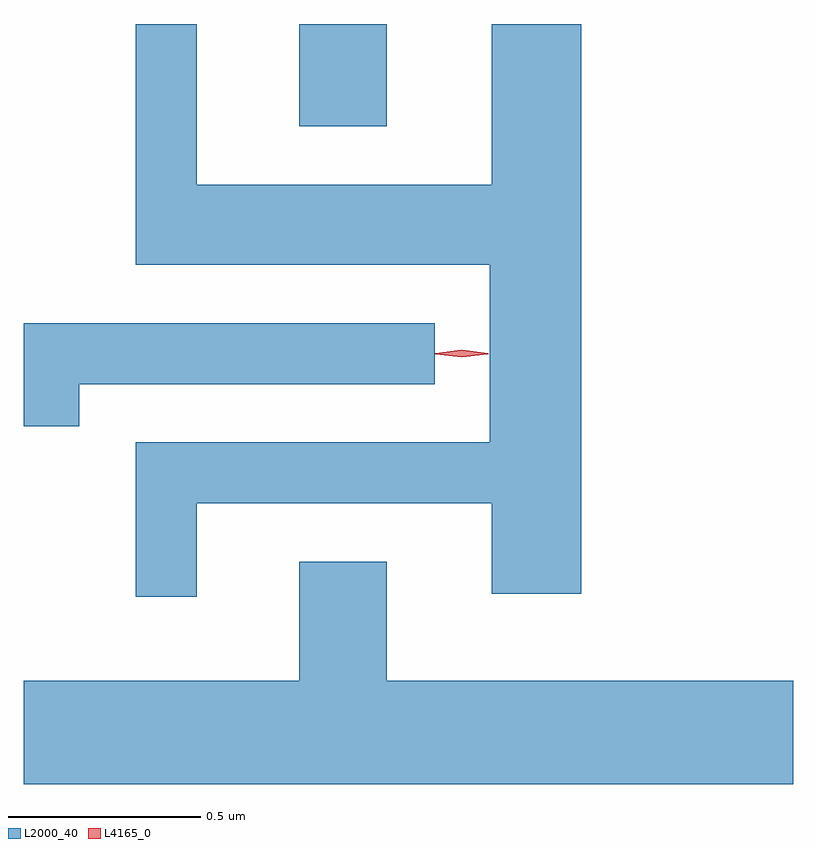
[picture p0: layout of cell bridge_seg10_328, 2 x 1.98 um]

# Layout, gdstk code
import gdstk
lib = gdstk.Library(unit=1e-6, precision=1e-09)
def R(c, l, rs):  # rectangles x0, y0, x1, y1
    for r in rs: c.add(gdstk.rectangle(r[:2], r[2:], *l))
def P(c, l, *ps):  # polygons
    for p in ps: c.add(gdstk.Polygon(p, *l))
L2000_40 = (2000, 40)
L4165_0 = (4165, 0)

bridge_seg10_328 = lib.new_cell('bridge_seg10_328')
R(bridge_seg10_328, L2000_40, [(1418.371,2193.326,1418.599,2193.592)])
P(bridge_seg10_328, L2000_40, [(1418.104,2192.346),(1418.871,2192.346),(1418.871,2192.111),(1419.104,2192.111),(1419.104,2193.592),(1418.871,2193.592),(1418.871,2193.174),(1418.104,2193.174),(1418.104,2193.592),(1417.946,2193.592),(1417.946,2192.966),(1418.866,2192.966),(1418.866,2192.504),(1417.946,2192.504),(1417.946,2192.103),(1418.104,2192.103)],
  [(1417.799,2192.656),(1418.723,2192.656),(1418.723,2192.814),(1417.655,2192.814),(1417.655,2192.546),(1417.799,2192.546)],
  [(1419.655,2191.884),(1418.599,2191.884),(1418.599,2192.194),(1418.371,2192.194),(1418.371,2191.884),(1417.655,2191.884),(1417.655,2191.616),(1419.655,2191.616)])
P(bridge_seg10_328, L4165_0, [(1418.793,2192.725),(1418.724,2192.734),(1418.724,2192.735),(1418.724,2192.736),(1418.793,2192.745),(1418.862,2192.736),(1418.862,2192.735),(1418.862,2192.734)],
  [(1418.793,2192.725),(1418.727,2192.734),(1418.727,2192.735),(1418.727,2192.736),(1418.793,2192.745),(1418.859,2192.736),(1418.859,2192.735),(1418.859,2192.734)])

lib.write_gds('bridge_seg10_328.gds')
